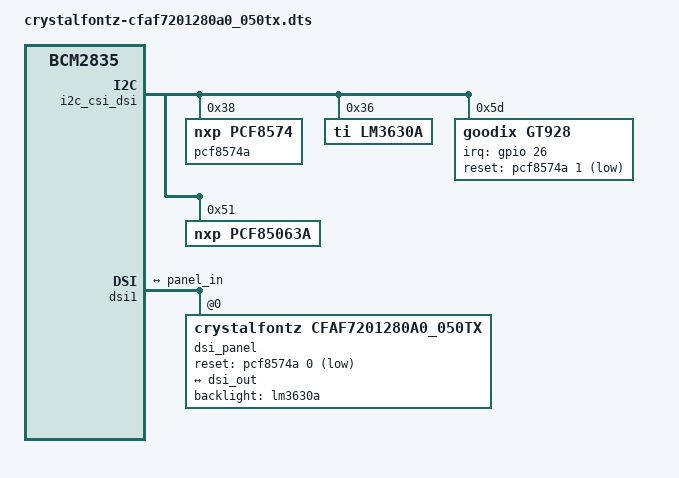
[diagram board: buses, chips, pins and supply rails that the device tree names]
/*
 * crystalfontz-cfaf7201280a0_050tx.dts
 * Configures the Crystalfontz CFAF7201280A0-050TC/TN modules
 */
/dts-v1/;
/plugin/;
/{
// CM4
	compatible = "brcm,bcm2835";
// PCF8574 I2C GPIO EXPANDER
	fragment@0 {
		target = <&i2c_csi_dsi>;
		__overlay__ {
			#address-cells = <1>;
			#size-cells = <0>;
			status = "okay";
			pcf8574a: pcf8574a@38 {
				reg = <0x38>;
				compatible = "nxp,pcf8574";
				gpio-controller;
				#gpio-cells = <2>;
				ngpios = <8>;
				gpio-line-names = "TFT_RESET", "TOUCH_RESET", "EXT_P2", "EXT_P3",
					"EXT_P4", "EXT_P5", "EXT_P6", "EXT_P7";
			};
		};
	};
// LM3630a BACKLIGHT LED CONTROLLER
	fragment@1 {
		target = <&i2c_csi_dsi>;
		__overlay__ {
			#address-cells = <1>;
			#size-cells = <0>;
			status = "okay";
			lm3630a: backlight@36 {
				reg = <0x36>;
				compatible = "ti,lm3630a";
				#address-cells = <1>;
				#size-cells = <0>;
				led@0 {
					reg = <0>;
					led-sources = <0 1>;
					label = "lcd-backlight";
					default-brightness = <128>;
					max-brightness = <255>;
				};
			};
		};
	};
// CFAF7201280A0_050TN TFT DSI PANEL
	fragment@2 {
		target = <&dsi1>;
		__overlay__  {
			#address-cells = <1>;
			#size-cells = <0>;
			status = "okay";
			port {
				dsi_out: endpoint {
					remote-endpoint = <&panel_in>;
				};
			};
			dsi_panel: dsi_panel@0 {
				compatible = "crystalfontz,cfaf7201280a0_050tx";
				reg = <0>;
				reset-gpios = <&pcf8574a 0 1>;
				backlight = <&lm3630a>;
				fps = <60>;
				port {
					panel_in: endpoint {
						remote-endpoint = <&dsi_out>;
					};
				};
			};
		};
	};
// GPIO INPUT FOR TOUCH IC IRQ
	fragment@3 {
		target = <&gpio>;
		__overlay__ {
			gt928intpins: gt928intpins {
				brcm,pins = <26>;
				brcm,function = <0>; //GPIO-IN
				brcm,pull = <1>; //DOWN
			};
		};
	};
// GT928 TOUCH CONTROLLER IC
	fragment@4 {
		target = <&i2c_csi_dsi>;
		__overlay__ {
			#address-cells = <1>;
			#size-cells = <0>;
			status = "okay";
			gt928@5d {
				compatible = "goodix,gt928";
				reg = <0x5d>;
				interrupt-parent = <&gpio>;
				interrupts = <26 2>;
				irq-gpios = <&gpio 26 0>;
				reset-gpios = <&pcf8574a 1 1>;
				touchscreen-inverted-x;
				touchscreen-inverted-y;
			};
		};
	};
// PCF85063a RTC on I2C
	fragment@5 {
		target = <&i2c_csi_dsi>;
		__overlay__ {
			#address-cells = <1>;
			#size-cells = <0>;
			status = "okay";
			pcf85063a@51 {
				compatible = "nxp,pcf85063a";
				reg = <0x51>;
			};
		};
	};
};
